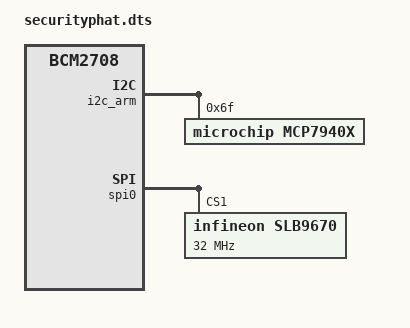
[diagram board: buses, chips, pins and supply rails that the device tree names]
// Definitions for the Pi Supply X Wott Security PHAT for mcp7940 and slb9670
/dts-v1/;
/plugin/;

/ {
        compatible = "brcm,bcm2708";

        fragment@0 {
                target = <&i2c_arm>;
                __overlay__ {
                        #address-cells = <1>;
                        #size-cells = <0>;
                        status = "okay";

                        mcp7940x: mcp7940x@6f {
                                compatible = "microchip,mcp7940x";
                                reg = <0x6f>;
                                status = "okay";
                        };
                };
        };

        fragment@1 {
      		target = <&spi0>;
      		__overlay__ {
      			status = "okay";
      		};
      	};

      	fragment@2 {
      		target = <&spidev1>;
      		__overlay__ {
      			status = "disabled";
      		};
      	};

      	fragment@3 {
      		target = <&spi0>;
      		__overlay__ {
      			/* needed to avoid dtc warning */
      			#address-cells = <1>;
      			#size-cells = <0>;
      			slb9670: slb9670@1 {
      				compatible = "infineon,slb9670";
      				reg = <1>;	/* CE1 */
      				#address-cells = <1>;
      				#size-cells = <0>;
      				spi-max-frequency = <32000000>;
      				status = "okay";
      			};

      		};
      	};


};

